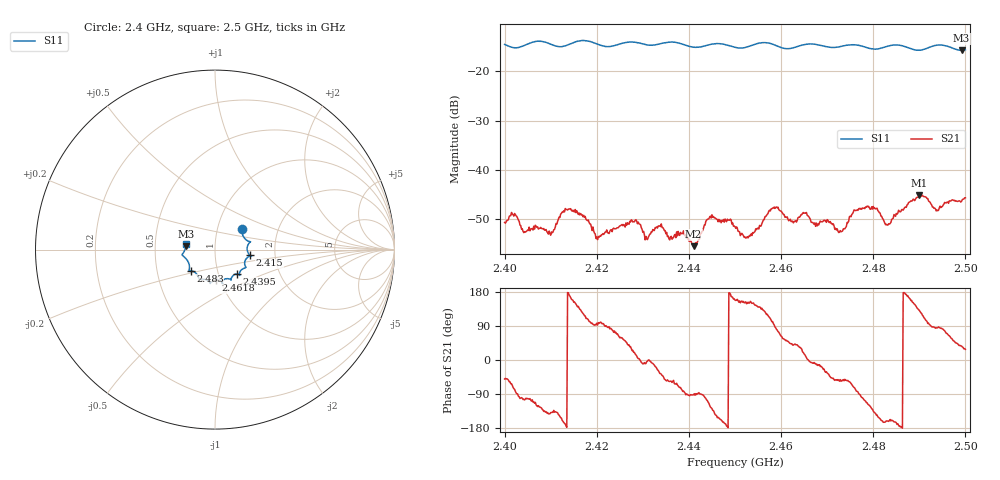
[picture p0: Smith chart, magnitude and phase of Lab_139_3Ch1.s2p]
# Hz S RI R 50
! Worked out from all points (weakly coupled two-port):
!   601 points, 2.4 GHz to 2.5 GHz, reference 50 ohm
!   highest |S21| = -45.13 dB at 2.49 GHz (marker M1); lowest = -55.6 dB at 2.441 GHz (marker M2)
!   lowest |S11| = -15.7 dB at 2.4992 GHz (marker M3), VSWR 1.39, Z = 35.9 + j1.33 ohm
!   |S11| at or under -10 dB: start of sweep to end of sweep
!   S12 and S22 are empty: the file has one direction only
!   S11 on the Smith chart (normalised r, x): 2.4 GHz: 1.31, +0.31; 2.415 GHz: 1.48, -0.10; 2.4395 GHz: 1.23, -0.34; 2.4618 GHz: 0.95, -0.34; 2.483 GHz: 0.74, -0.18; 2.5 GHz: 0.72, +0.05
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2.4e9  0.1505 0.1133  0.00186 -0.00223  0 0  0 0
2.41e9  0.1868 0.0318  -0.00162 -0.00142  0 0  0 0
2.415e9  0.1941 -0.0321  -0.00333 0.00174  0 0  0 0
2.416667e9  0.2029 -0.0376  -0.00215 0.00272  0 0  0 0
2.420333e9  0.1838 -0.0414  -0.000313 0.00207  0 0  0 0
2.433333e9  0.1366 -0.1313  0.00237 -0.00124  0 0  0 0
2.4395e9  0.1242 -0.135  1.6e-05 -0.0021  0 0  0 0
2.441e9  0.1097 -0.1382  -5.57e-05 -0.00166  0 0  0 0
2.4445e9  0.0893 -0.1651  -0.00163 -0.00287  0 0  0 0
2.45e9  0.0696 -0.1619  -0.00243 0.000983  0 0  0 0
2.452833e9  0.043 -0.1736  -0.00179 0.000928  0 0  0 0
2.458833e9  0.038 -0.1801  0.000356 0.00413  0 0  0 0
2.461833e9  0.00405 -0.1711  0.00218 0.00217  0 0  0 0
2.466667e9  -0.0263 -0.1888  0.00289 -0.000332  0 0  0 0
2.472833e9  -0.0702 -0.1647  0.00148 -0.00189  0 0  0 0
2.478667e9  -0.0964 -0.1455  -0.00166 -0.00392  0 0  0 0
2.483e9  -0.1358 -0.1183  -0.00258 -0.000902  0 0  0 0
2.483333e9  -0.1384 -0.1179  -0.00268 -0.000871  0 0  0 0
2.49e9  -0.1499 -0.0677  -0.00363 0.00419  0 0  0 0
2.493667e9  -0.182 -0.0318  0.000324 0.00379  0 0  0 0
2.499167e9  -0.1633 0.018  0.00382 0.00285  0 0  0 0
2.5e9  -0.1631 0.033  0.00457 0.00244  0 0  0 0
